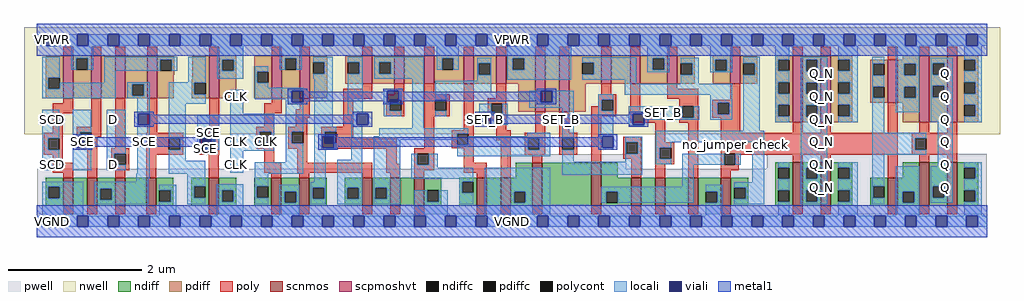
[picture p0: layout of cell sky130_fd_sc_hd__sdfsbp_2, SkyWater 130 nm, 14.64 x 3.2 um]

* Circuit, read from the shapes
.subckt sky130_fd_sc_hd__sdfsbp_2 CLK D SCD SCE SET_B VGND VNB VPB VPWR Q Q_N
XM1 n1 SCD VGND VNB sky130_fd_pr__nfet_01v8 w=0.42 l=0.15
XM2 n2 SCE n1 VNB sky130_fd_pr__nfet_01v8 w=0.42 l=0.15
XM3 n3 D n2 VNB sky130_fd_pr__nfet_01v8 w=0.42 l=0.15
XM4 VGND n4 n3 VNB sky130_fd_pr__nfet_01v8 w=0.42 l=0.15
XM5 VGND SCE n4 VNB sky130_fd_pr__nfet_01v8 w=0.42 l=0.15
XM6 VGND CLK n5 VNB sky130_fd_pr__nfet_01v8 w=0.42 l=0.15
XM7 n6 n5 VGND VNB sky130_fd_pr__nfet_01v8 w=0.42 l=0.15
XM8 n7 n5 n2 VNB sky130_fd_pr__nfet_01v8 w=0.42 l=0.15
XM9 n8 n6 n7 VNB sky130_fd_pr__nfet_01v8 w=0.42 l=0.15
XM10 VGND n9 n8 VNB sky130_fd_pr__nfet_01v8 w=0.42 l=0.15
XM11 n10 n7 n9 VNB sky130_fd_pr__nfet_01v8 w=0.42 l=0.15
XM12 VGND SET_B n10 VNB sky130_fd_pr__nfet_01v8 w=0.42 l=0.15
XM13 n11 n7 VGND VNB sky130_fd_pr__nfet_01v8 w=0.64 l=0.15
XM14 n12 n6 n11 VNB sky130_fd_pr__nfet_01v8 w=0.64 l=0.15
XM15 n13 n5 n12 VNB sky130_fd_pr__nfet_01v8 w=0.42 l=0.15
XM16 n14 n15 n13 VNB sky130_fd_pr__nfet_01v8 w=0.42 l=0.15
XM17 VGND SET_B n14 VNB sky130_fd_pr__nfet_01v8 w=0.42 l=0.15
XM18 n15 n12 VGND VNB sky130_fd_pr__nfet_01v8 w=0.42 l=0.15
XM19 Q_N n12 VGND VNB sky130_fd_pr__nfet_01v8 w=0.65 l=0.15 m=2
XM20 VGND n12 n16 VNB sky130_fd_pr__nfet_01v8 w=0.42 l=0.15
XM21 Q n16 VGND VNB sky130_fd_pr__nfet_01v8 w=0.65 l=0.15 m=2
XM22 VPWR SCD n17 VPB sky130_fd_pr__pfet_01v8_hvt w=0.64 l=0.15
XM23 n18 SCE VPWR VPB sky130_fd_pr__pfet_01v8_hvt w=0.64 l=0.15
XM24 n2 D n18 VPB sky130_fd_pr__pfet_01v8_hvt w=0.64 l=0.15
XM25 n17 n4 n2 VPB sky130_fd_pr__pfet_01v8_hvt w=0.64 l=0.15
XM26 VPWR SCE n4 VPB sky130_fd_pr__pfet_01v8_hvt w=0.64 l=0.15
XM27 VPWR CLK n5 VPB sky130_fd_pr__pfet_01v8_hvt w=0.64 l=0.15
XM28 n6 n5 VPWR VPB sky130_fd_pr__pfet_01v8_hvt w=0.64 l=0.15
XM29 n7 n6 n2 VPB sky130_fd_pr__pfet_01v8_hvt w=0.42 l=0.15
XM30 n19 n5 n7 VPB sky130_fd_pr__pfet_01v8_hvt w=0.42 l=0.15
XM31 VPWR n9 n19 VPB sky130_fd_pr__pfet_01v8_hvt w=0.42 l=0.15
XM32 n9 n7 VPWR VPB sky130_fd_pr__pfet_01v8_hvt w=0.42 l=0.15
XM33 VPWR SET_B n9 VPB sky130_fd_pr__pfet_01v8_hvt w=0.42 l=0.15
XM34 n20 n7 VPWR VPB sky130_fd_pr__pfet_01v8_hvt w=0.84 l=0.15
XM35 n12 n5 n20 VPB sky130_fd_pr__pfet_01v8_hvt w=0.84 l=0.15
XM36 n21 n6 n12 VPB sky130_fd_pr__pfet_01v8_hvt w=0.42 l=0.15
XM37 VPWR n15 n21 VPB sky130_fd_pr__pfet_01v8_hvt w=0.42 l=0.15
XM38 n12 SET_B VPWR VPB sky130_fd_pr__pfet_01v8_hvt w=0.42 l=0.15
XM39 n15 n12 VPWR VPB sky130_fd_pr__pfet_01v8_hvt w=0.42 l=0.15
XM40 Q_N n12 VPWR VPB sky130_fd_pr__pfet_01v8_hvt w=1 l=0.15 m=2
XM41 VPWR n12 n16 VPB sky130_fd_pr__pfet_01v8_hvt w=0.64 l=0.15
XM42 Q n16 VPWR VPB sky130_fd_pr__pfet_01v8_hvt w=1 l=0.15 m=2
.ends

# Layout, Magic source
magic
tech sky130A
magscale 1 2
<< nwell >>
rect -38 261 2890 582
<< pwell >>
rect 1411 157 1769 201
rect 2190 157 2850 203
rect 1 21 2850 157
rect 29 -17 63 21
<< scnmos >>
rect 79 47 109 131
rect 151 47 181 131
rect 235 47 265 131
rect 328 47 358 131
rect 516 47 546 131
rect 704 47 734 131
rect 788 47 818 131
rect 976 47 1006 131
rect 1060 47 1090 131
rect 1132 47 1162 131
rect 1320 47 1350 131
rect 1392 47 1422 131
rect 1487 47 1517 175
rect 1663 47 1693 175
rect 1783 47 1813 131
rect 1855 47 1885 131
rect 1955 47 1985 131
rect 2052 47 2082 131
rect 2268 47 2298 177
rect 2352 47 2382 177
rect 2553 47 2583 131
rect 2648 47 2678 177
rect 2732 47 2762 177
<< scpmoshvt >>
rect 79 369 109 497
rect 163 369 193 497
rect 235 369 265 497
rect 331 369 361 497
rect 517 369 547 497
rect 705 369 735 497
rect 789 369 819 497
rect 977 413 1007 497
rect 1072 413 1102 497
rect 1162 413 1192 497
rect 1281 413 1311 497
rect 1379 413 1409 497
rect 1495 329 1525 497
rect 1567 329 1597 497
rect 1693 413 1723 497
rect 1781 413 1811 497
rect 1892 413 1922 497
rect 2080 413 2110 497
rect 2268 297 2298 497
rect 2352 297 2382 497
rect 2553 356 2583 484
rect 2648 297 2678 497
rect 2732 297 2762 497
<< ndiff >>
rect 1437 131 1487 175
rect 27 103 79 131
rect 27 69 35 103
rect 69 69 79 103
rect 27 47 79 69
rect 109 47 151 131
rect 181 98 235 131
rect 181 64 191 98
rect 225 64 235 98
rect 181 47 235 64
rect 265 47 328 131
rect 358 93 410 131
rect 358 59 368 93
rect 402 59 410 93
rect 358 47 410 59
rect 464 105 516 131
rect 464 71 472 105
rect 506 71 516 105
rect 464 47 516 71
rect 546 93 598 131
rect 546 59 556 93
rect 590 59 598 93
rect 546 47 598 59
rect 652 105 704 131
rect 652 71 660 105
rect 694 71 704 105
rect 652 47 704 71
rect 734 89 788 131
rect 734 55 744 89
rect 778 55 788 89
rect 734 47 788 55
rect 818 101 870 131
rect 818 67 828 101
rect 862 67 870 101
rect 818 47 870 67
rect 924 101 976 131
rect 924 67 932 101
rect 966 67 976 101
rect 924 47 976 67
rect 1006 101 1060 131
rect 1006 67 1016 101
rect 1050 67 1060 101
rect 1006 47 1060 67
rect 1090 47 1132 131
rect 1162 93 1214 131
rect 1162 59 1172 93
rect 1206 59 1214 93
rect 1162 47 1214 59
rect 1268 119 1320 131
rect 1268 85 1276 119
rect 1310 85 1320 119
rect 1268 47 1320 85
rect 1350 47 1392 131
rect 1422 89 1487 131
rect 1422 55 1432 89
rect 1466 55 1487 89
rect 1422 47 1487 55
rect 1517 47 1663 175
rect 1693 131 1743 175
rect 2216 161 2268 177
rect 1693 89 1783 131
rect 1693 55 1709 89
rect 1743 55 1783 89
rect 1693 47 1783 55
rect 1813 47 1855 131
rect 1885 47 1955 131
rect 1985 89 2052 131
rect 1985 55 2007 89
rect 2041 55 2052 89
rect 1985 47 2052 55
rect 2082 101 2135 131
rect 2082 67 2093 101
rect 2127 67 2135 101
rect 2082 47 2135 67
rect 2216 127 2224 161
rect 2258 127 2268 161
rect 2216 93 2268 127
rect 2216 59 2224 93
rect 2258 59 2268 93
rect 2216 47 2268 59
rect 2298 161 2352 177
rect 2298 127 2308 161
rect 2342 127 2352 161
rect 2298 93 2352 127
rect 2298 59 2308 93
rect 2342 59 2352 93
rect 2298 47 2352 59
rect 2382 161 2447 177
rect 2382 127 2405 161
rect 2439 127 2447 161
rect 2598 131 2648 177
rect 2382 93 2447 127
rect 2382 59 2405 93
rect 2439 59 2447 93
rect 2382 47 2447 59
rect 2501 105 2553 131
rect 2501 71 2509 105
rect 2543 71 2553 105
rect 2501 47 2553 71
rect 2583 89 2648 131
rect 2583 55 2598 89
rect 2632 55 2648 89
rect 2583 47 2648 55
rect 2678 105 2732 177
rect 2678 71 2688 105
rect 2722 71 2732 105
rect 2678 47 2732 71
rect 2762 161 2824 177
rect 2762 127 2782 161
rect 2816 127 2824 161
rect 2762 93 2824 127
rect 2762 59 2782 93
rect 2816 59 2824 93
rect 2762 47 2824 59
<< pdiff >>
rect 27 431 79 497
rect 27 397 35 431
rect 69 397 79 431
rect 27 369 79 397
rect 109 489 163 497
rect 109 455 119 489
rect 153 455 163 489
rect 109 369 163 455
rect 193 369 235 497
rect 265 411 331 497
rect 265 377 287 411
rect 321 377 331 411
rect 265 369 331 377
rect 361 485 413 497
rect 361 451 371 485
rect 405 451 413 485
rect 361 441 413 451
rect 361 440 412 441
rect 361 369 411 440
rect 467 426 517 497
rect 466 425 517 426
rect 465 415 517 425
rect 465 381 473 415
rect 507 381 517 415
rect 465 369 517 381
rect 547 485 599 497
rect 547 451 557 485
rect 591 451 599 485
rect 547 369 599 451
rect 653 449 705 497
rect 653 415 661 449
rect 695 415 705 449
rect 653 369 705 415
rect 735 489 789 497
rect 735 455 745 489
rect 779 455 789 489
rect 735 369 789 455
rect 819 477 871 497
rect 819 443 829 477
rect 863 443 871 477
rect 819 369 871 443
rect 925 477 977 497
rect 925 443 933 477
rect 967 443 977 477
rect 925 413 977 443
rect 1007 477 1072 497
rect 1007 443 1028 477
rect 1062 443 1072 477
rect 1007 413 1072 443
rect 1102 413 1162 497
rect 1192 489 1281 497
rect 1192 455 1216 489
rect 1250 455 1281 489
rect 1192 413 1281 455
rect 1311 474 1379 497
rect 1311 440 1326 474
rect 1360 440 1379 474
rect 1311 413 1379 440
rect 1409 489 1495 497
rect 1409 455 1428 489
rect 1462 455 1495 489
rect 1409 413 1495 455
rect 1445 329 1495 413
rect 1525 329 1567 497
rect 1597 475 1693 497
rect 1597 441 1637 475
rect 1671 441 1693 475
rect 1597 413 1693 441
rect 1723 413 1781 497
rect 1811 489 1892 497
rect 1811 455 1848 489
rect 1882 455 1892 489
rect 1811 413 1892 455
rect 1922 474 1974 497
rect 1922 440 1932 474
rect 1966 440 1974 474
rect 1922 413 1974 440
rect 2028 485 2080 497
rect 2028 451 2036 485
rect 2070 451 2080 485
rect 2028 413 2080 451
rect 2110 474 2162 497
rect 2110 440 2120 474
rect 2154 440 2162 474
rect 2110 413 2162 440
rect 2216 485 2268 497
rect 2216 451 2224 485
rect 2258 451 2268 485
rect 2216 417 2268 451
rect 1597 329 1647 413
rect 2216 383 2224 417
rect 2258 383 2268 417
rect 2216 349 2268 383
rect 2216 315 2224 349
rect 2258 315 2268 349
rect 2216 297 2268 315
rect 2298 484 2352 497
rect 2298 450 2308 484
rect 2342 450 2352 484
rect 2298 416 2352 450
rect 2298 382 2308 416
rect 2342 382 2352 416
rect 2298 348 2352 382
rect 2298 314 2308 348
rect 2342 314 2352 348
rect 2298 297 2352 314
rect 2382 485 2447 497
rect 2382 451 2405 485
rect 2439 451 2447 485
rect 2598 484 2648 497
rect 2382 417 2447 451
rect 2382 383 2405 417
rect 2439 383 2447 417
rect 2382 349 2447 383
rect 2501 472 2553 484
rect 2501 438 2509 472
rect 2543 438 2553 472
rect 2501 404 2553 438
rect 2501 370 2509 404
rect 2543 370 2553 404
rect 2501 356 2553 370
rect 2583 472 2648 484
rect 2583 438 2603 472
rect 2637 438 2648 472
rect 2583 404 2648 438
rect 2583 370 2603 404
rect 2637 370 2648 404
rect 2583 356 2648 370
rect 2382 315 2405 349
rect 2439 315 2447 349
rect 2382 297 2447 315
rect 2598 297 2648 356
rect 2678 474 2732 497
rect 2678 440 2688 474
rect 2722 440 2732 474
rect 2678 406 2732 440
rect 2678 372 2688 406
rect 2722 372 2732 406
rect 2678 297 2732 372
rect 2762 485 2824 497
rect 2762 451 2782 485
rect 2816 451 2824 485
rect 2762 417 2824 451
rect 2762 383 2782 417
rect 2816 383 2824 417
rect 2762 349 2824 383
rect 2762 315 2782 349
rect 2816 315 2824 349
rect 2762 297 2824 315
<< ndiffc >>
rect 35 69 69 103
rect 191 64 225 98
rect 368 59 402 93
rect 472 71 506 105
rect 556 59 590 93
rect 660 71 694 105
rect 744 55 778 89
rect 828 67 862 101
rect 932 67 966 101
rect 1016 67 1050 101
rect 1172 59 1206 93
rect 1276 85 1310 119
rect 1432 55 1466 89
rect 1709 55 1743 89
rect 2007 55 2041 89
rect 2093 67 2127 101
rect 2224 127 2258 161
rect 2224 59 2258 93
rect 2308 127 2342 161
rect 2308 59 2342 93
rect 2405 127 2439 161
rect 2405 59 2439 93
rect 2509 71 2543 105
rect 2598 55 2632 89
rect 2688 71 2722 105
rect 2782 127 2816 161
rect 2782 59 2816 93
<< pdiffc >>
rect 35 397 69 431
rect 119 455 153 489
rect 287 377 321 411
rect 371 451 405 485
rect 473 381 507 415
rect 557 451 591 485
rect 661 415 695 449
rect 745 455 779 489
rect 829 443 863 477
rect 933 443 967 477
rect 1028 443 1062 477
rect 1216 455 1250 489
rect 1326 440 1360 474
rect 1428 455 1462 489
rect 1637 441 1671 475
rect 1848 455 1882 489
rect 1932 440 1966 474
rect 2036 451 2070 485
rect 2120 440 2154 474
rect 2224 451 2258 485
rect 2224 383 2258 417
rect 2224 315 2258 349
rect 2308 450 2342 484
rect 2308 382 2342 416
rect 2308 314 2342 348
rect 2405 451 2439 485
rect 2405 383 2439 417
rect 2509 438 2543 472
rect 2509 370 2543 404
rect 2603 438 2637 472
rect 2603 370 2637 404
rect 2405 315 2439 349
rect 2688 440 2722 474
rect 2688 372 2722 406
rect 2782 451 2816 485
rect 2782 383 2816 417
rect 2782 315 2816 349
<< poly >>
rect 79 497 109 523
rect 163 497 193 523
rect 235 497 265 523
rect 331 497 361 523
rect 517 497 547 523
rect 705 497 735 523
rect 789 497 819 523
rect 977 497 1007 523
rect 1072 497 1102 523
rect 1162 497 1192 523
rect 1281 497 1311 523
rect 1379 497 1409 523
rect 1495 497 1525 523
rect 1567 497 1597 523
rect 1693 497 1723 523
rect 1781 497 1811 523
rect 1892 497 1922 523
rect 2080 497 2110 523
rect 2268 497 2298 523
rect 2352 497 2382 523
rect 977 398 1007 413
rect 79 354 109 369
rect 48 324 109 354
rect 48 265 78 324
rect 163 283 193 369
rect 21 249 78 265
rect 21 215 34 249
rect 68 215 78 249
rect 120 267 193 283
rect 120 233 130 267
rect 164 253 193 267
rect 164 233 181 253
rect 120 217 181 233
rect 235 219 265 369
rect 331 265 361 369
rect 517 265 547 369
rect 705 354 735 369
rect 683 324 735 354
rect 789 336 819 369
rect 683 284 713 324
rect 777 310 819 336
rect 919 368 1007 398
rect 1072 381 1102 413
rect 1162 381 1192 413
rect 777 284 812 310
rect 919 284 949 368
rect 1049 365 1103 381
rect 1049 331 1059 365
rect 1093 331 1103 365
rect 1049 315 1103 331
rect 1162 365 1239 381
rect 1162 331 1195 365
rect 1229 331 1239 365
rect 1162 315 1239 331
rect 328 249 440 265
rect 21 199 78 215
rect 48 176 78 199
rect 48 146 109 176
rect 79 131 109 146
rect 151 131 181 217
rect 223 203 277 219
rect 223 169 233 203
rect 267 169 277 203
rect 223 153 277 169
rect 328 215 396 249
rect 430 215 440 249
rect 328 199 440 215
rect 487 249 547 265
rect 487 215 497 249
rect 531 215 547 249
rect 659 268 713 284
rect 659 234 669 268
rect 703 234 713 268
rect 659 218 713 234
rect 755 268 812 284
rect 755 234 765 268
rect 799 234 812 268
rect 755 218 812 234
rect 854 268 949 284
rect 854 234 864 268
rect 898 248 949 268
rect 898 234 1080 248
rect 854 218 1080 234
rect 1162 219 1192 315
rect 1281 273 1311 413
rect 1379 369 1409 413
rect 1353 353 1409 369
rect 1353 319 1363 353
rect 1397 319 1409 353
rect 1693 381 1723 413
rect 1685 365 1739 381
rect 1685 345 1695 365
rect 1663 331 1695 345
rect 1729 331 1739 365
rect 1353 303 1409 319
rect 1245 263 1311 273
rect 1245 229 1261 263
rect 1295 229 1311 263
rect 1379 273 1409 303
rect 1379 243 1422 273
rect 1495 265 1525 329
rect 1245 219 1311 229
rect 487 199 547 215
rect 235 131 265 153
rect 328 131 358 199
rect 516 131 546 199
rect 683 176 713 218
rect 782 176 812 218
rect 683 146 734 176
rect 782 146 1006 176
rect 1048 172 1080 218
rect 1132 203 1192 219
rect 1048 146 1090 172
rect 704 131 734 146
rect 788 131 818 146
rect 976 131 1006 146
rect 1060 131 1090 146
rect 1132 169 1142 203
rect 1176 169 1192 203
rect 1132 153 1192 169
rect 1281 176 1311 219
rect 1132 131 1162 153
rect 1281 146 1350 176
rect 1320 131 1350 146
rect 1392 131 1422 243
rect 1464 249 1525 265
rect 1464 215 1474 249
rect 1508 215 1525 249
rect 1464 199 1525 215
rect 1567 265 1597 329
rect 1663 315 1739 331
rect 1781 325 1811 413
rect 1892 397 1922 413
rect 1892 367 1985 397
rect 1927 345 1985 367
rect 2080 365 2110 413
rect 1567 249 1621 265
rect 1567 215 1577 249
rect 1611 215 1621 249
rect 1567 199 1621 215
rect 1487 175 1517 199
rect 1663 175 1693 315
rect 1781 295 1885 325
rect 1927 311 1937 345
rect 1971 311 1985 345
rect 2027 355 2110 365
rect 2027 321 2043 355
rect 2077 321 2110 355
rect 2027 311 2110 321
rect 1927 295 1985 311
rect 1759 237 1813 253
rect 1759 203 1769 237
rect 1803 203 1813 237
rect 1759 187 1813 203
rect 1783 131 1813 187
rect 1855 237 1885 295
rect 1855 221 1913 237
rect 1855 187 1869 221
rect 1903 187 1913 221
rect 1855 171 1913 187
rect 1855 131 1885 171
rect 1955 131 1985 295
rect 2052 265 2110 311
rect 2553 484 2583 523
rect 2648 497 2678 523
rect 2732 497 2762 523
rect 2268 265 2298 297
rect 2352 265 2382 297
rect 2553 265 2583 356
rect 2648 265 2678 297
rect 2732 265 2762 297
rect 2052 203 2583 265
rect 2052 169 2062 203
rect 2096 199 2583 203
rect 2625 249 2762 265
rect 2625 215 2635 249
rect 2669 215 2762 249
rect 2625 199 2762 215
rect 2096 169 2106 199
rect 2268 177 2298 199
rect 2352 177 2382 199
rect 2052 153 2106 169
rect 2052 131 2082 153
rect 2553 131 2583 199
rect 2648 177 2678 199
rect 2732 177 2762 199
rect 79 21 109 47
rect 151 21 181 47
rect 235 21 265 47
rect 328 21 358 47
rect 516 21 546 47
rect 704 21 734 47
rect 788 21 818 47
rect 976 21 1006 47
rect 1060 21 1090 47
rect 1132 21 1162 47
rect 1320 21 1350 47
rect 1392 21 1422 47
rect 1487 21 1517 47
rect 1663 21 1693 47
rect 1783 21 1813 47
rect 1855 21 1885 47
rect 1955 21 1985 47
rect 2052 21 2082 47
rect 2268 21 2298 47
rect 2352 21 2382 47
rect 2553 21 2583 47
rect 2648 21 2678 47
rect 2732 21 2762 47
<< polycont >>
rect 34 215 68 249
rect 130 233 164 267
rect 1059 331 1093 365
rect 1195 331 1229 365
rect 233 169 267 203
rect 396 215 430 249
rect 497 215 531 249
rect 669 234 703 268
rect 765 234 799 268
rect 864 234 898 268
rect 1363 319 1397 353
rect 1695 331 1729 365
rect 1261 229 1295 263
rect 1142 169 1176 203
rect 1474 215 1508 249
rect 1577 215 1611 249
rect 1937 311 1971 345
rect 2043 321 2077 355
rect 1769 203 1803 237
rect 1869 187 1903 221
rect 2062 169 2096 203
rect 2635 215 2669 249
<< locali >>
rect 0 527 29 561
rect 63 527 121 561
rect 155 527 213 561
rect 247 527 305 561
rect 339 527 397 561
rect 431 527 489 561
rect 523 527 581 561
rect 615 527 673 561
rect 707 527 765 561
rect 799 527 857 561
rect 891 527 949 561
rect 983 527 1041 561
rect 1075 527 1133 561
rect 1167 527 1225 561
rect 1259 527 1317 561
rect 1351 527 1409 561
rect 1443 527 1501 561
rect 1535 527 1593 561
rect 1627 527 1685 561
rect 1719 527 1777 561
rect 1811 527 1869 561
rect 1903 527 1961 561
rect 1995 527 2053 561
rect 2087 527 2145 561
rect 2179 527 2237 561
rect 2271 527 2329 561
rect 2363 527 2421 561
rect 2455 527 2513 561
rect 2547 527 2605 561
rect 2639 527 2697 561
rect 2731 527 2789 561
rect 2823 527 2852 561
rect 17 431 69 493
rect 103 489 169 527
rect 103 455 119 489
rect 153 455 169 489
rect 203 485 421 493
rect 17 397 35 431
rect 203 451 371 485
rect 405 451 421 485
rect 203 415 237 451
rect 455 417 507 493
rect 541 485 620 527
rect 541 451 557 485
rect 591 451 620 485
rect 729 489 795 527
rect 541 428 620 451
rect 654 449 695 465
rect 729 455 745 489
rect 779 455 795 489
rect 829 477 888 493
rect 69 397 237 415
rect 17 369 237 397
rect 271 411 339 417
rect 271 377 287 411
rect 321 377 339 411
rect 271 369 339 377
rect 17 249 68 335
rect 17 215 34 249
rect 17 153 68 215
rect 108 267 164 335
rect 108 255 130 267
rect 108 221 121 255
rect 155 221 164 233
rect 108 153 164 221
rect 210 203 267 335
rect 210 169 233 203
rect 210 153 267 169
rect 301 323 339 369
rect 301 289 305 323
rect 301 144 339 289
rect 300 141 339 144
rect 396 415 507 417
rect 396 381 473 415
rect 654 415 661 449
rect 863 443 888 477
rect 829 427 888 443
rect 654 400 695 415
rect 396 352 507 381
rect 396 249 447 352
rect 581 323 620 394
rect 654 391 799 400
rect 654 366 765 391
rect 747 357 765 366
rect 430 215 447 249
rect 481 255 547 318
rect 481 221 489 255
rect 523 249 547 255
rect 481 215 497 221
rect 531 215 547 249
rect 581 268 713 323
rect 581 234 669 268
rect 703 234 713 268
rect 396 181 447 215
rect 581 211 713 234
rect 747 268 799 357
rect 747 234 765 268
rect 396 143 506 181
rect 581 145 620 211
rect 747 177 799 234
rect 299 129 339 141
rect 299 119 334 129
rect 17 103 140 119
rect 17 69 35 103
rect 69 69 140 103
rect 17 17 140 69
rect 174 98 334 119
rect 174 64 191 98
rect 225 64 334 98
rect 174 51 334 64
rect 368 93 418 109
rect 402 59 418 93
rect 368 17 418 59
rect 452 105 506 143
rect 654 143 799 177
rect 833 284 888 427
rect 933 477 978 493
rect 967 443 978 477
rect 933 323 978 443
rect 1012 477 1161 493
rect 1012 443 1028 477
rect 1062 443 1161 477
rect 1200 489 1266 527
rect 1200 455 1216 489
rect 1250 455 1266 489
rect 1321 474 1364 490
rect 1012 427 1161 443
rect 1041 357 1052 391
rect 1086 365 1093 391
rect 1041 331 1059 357
rect 933 318 960 323
rect 943 289 960 318
rect 1041 315 1093 331
rect 833 268 898 284
rect 833 255 864 268
rect 833 221 857 255
rect 891 221 898 234
rect 833 218 898 221
rect 452 71 472 105
rect 452 51 506 71
rect 540 93 620 111
rect 540 59 556 93
rect 590 59 620 93
rect 540 17 620 59
rect 654 105 694 143
rect 833 117 867 218
rect 943 184 977 289
rect 1127 279 1161 427
rect 1321 440 1326 474
rect 1360 440 1364 474
rect 1321 421 1364 440
rect 1412 489 1603 527
rect 1412 455 1428 489
rect 1462 455 1603 489
rect 1412 425 1603 455
rect 1637 475 1798 492
rect 1671 441 1798 475
rect 1832 489 1898 527
rect 1832 455 1848 489
rect 1882 455 1898 489
rect 1832 447 1898 455
rect 1932 474 1986 490
rect 1637 425 1798 441
rect 1195 387 1364 421
rect 1764 413 1798 425
rect 1966 440 1986 474
rect 2020 485 2086 527
rect 2020 451 2036 485
rect 2070 451 2086 485
rect 2020 447 2086 451
rect 2120 474 2169 493
rect 1932 413 1986 440
rect 2154 440 2169 474
rect 1195 365 1229 387
rect 1477 357 1512 391
rect 1546 357 1611 391
rect 1195 315 1229 331
rect 1328 323 1363 353
rect 1362 319 1363 323
rect 1397 319 1413 353
rect 1477 341 1611 357
rect 1362 289 1413 319
rect 1028 263 1295 279
rect 1028 255 1261 263
rect 654 71 660 105
rect 654 51 694 71
rect 728 89 788 109
rect 728 55 744 89
rect 778 55 788 89
rect 728 17 788 55
rect 822 101 867 117
rect 822 67 828 101
rect 862 67 867 101
rect 822 51 867 67
rect 901 101 977 184
rect 901 67 932 101
rect 966 67 977 101
rect 901 51 977 67
rect 1011 245 1261 255
rect 1011 101 1090 245
rect 1471 255 1541 265
rect 1295 249 1541 255
rect 1295 229 1474 249
rect 1261 215 1474 229
rect 1508 215 1541 249
rect 1124 169 1142 203
rect 1176 169 1203 203
rect 1261 195 1541 215
rect 1577 249 1611 341
rect 1684 365 1730 381
rect 1764 379 2086 413
rect 1684 331 1695 365
rect 1729 331 1730 365
rect 2021 355 2086 379
rect 1684 255 1730 331
rect 1776 323 1937 345
rect 1776 289 1788 323
rect 1822 311 1937 323
rect 1971 311 1987 345
rect 1822 305 1987 311
rect 2021 321 2043 355
rect 2077 321 2086 355
rect 2021 305 2086 321
rect 1822 289 1823 305
rect 1776 287 1823 289
rect 2120 271 2169 440
rect 2216 485 2258 527
rect 2216 451 2224 485
rect 2216 417 2258 451
rect 2216 383 2224 417
rect 2216 349 2258 383
rect 2216 315 2224 349
rect 2216 297 2258 315
rect 2292 484 2371 493
rect 2292 450 2308 484
rect 2342 450 2371 484
rect 2292 416 2371 450
rect 2292 382 2308 416
rect 2342 382 2371 416
rect 2292 348 2371 382
rect 2292 314 2308 348
rect 2342 314 2371 348
rect 1684 221 1696 255
rect 1684 215 1730 221
rect 1766 237 1817 253
rect 1124 161 1203 169
rect 1577 179 1611 215
rect 1766 203 1769 237
rect 1803 203 1817 237
rect 1766 179 1817 203
rect 1124 127 1310 161
rect 1011 67 1016 101
rect 1050 67 1090 101
rect 1267 119 1310 127
rect 1011 51 1090 67
rect 1133 59 1172 93
rect 1206 59 1233 93
rect 1133 17 1233 59
rect 1267 85 1276 119
rect 1267 51 1310 85
rect 1344 89 1541 161
rect 1577 139 1817 179
rect 1857 237 2182 271
rect 1857 221 1903 237
rect 1857 187 1869 221
rect 1857 171 1903 187
rect 1937 169 2062 203
rect 2096 169 2112 203
rect 1937 103 1971 169
rect 2146 117 2182 237
rect 1344 55 1432 89
rect 1466 55 1541 89
rect 1693 89 1971 103
rect 1693 55 1709 89
rect 1743 55 1971 89
rect 2007 89 2057 109
rect 2041 55 2057 89
rect 1344 17 1541 55
rect 2007 17 2057 55
rect 2093 101 2182 117
rect 2127 67 2182 101
rect 2093 51 2182 67
rect 2224 161 2258 177
rect 2224 93 2258 127
rect 2224 17 2258 59
rect 2292 161 2371 314
rect 2405 485 2463 527
rect 2439 451 2463 485
rect 2405 417 2463 451
rect 2439 383 2463 417
rect 2405 349 2463 383
rect 2439 315 2463 349
rect 2405 297 2463 315
rect 2506 472 2543 493
rect 2506 438 2509 472
rect 2506 404 2543 438
rect 2506 370 2509 404
rect 2506 265 2543 370
rect 2577 472 2648 527
rect 2577 438 2603 472
rect 2637 438 2648 472
rect 2577 404 2648 438
rect 2577 370 2603 404
rect 2637 370 2648 404
rect 2577 327 2648 370
rect 2682 474 2748 490
rect 2682 440 2688 474
rect 2722 440 2748 474
rect 2682 406 2748 440
rect 2682 372 2688 406
rect 2722 372 2748 406
rect 2682 299 2748 372
rect 2506 249 2669 265
rect 2506 215 2635 249
rect 2506 199 2669 215
rect 2292 127 2308 161
rect 2342 127 2371 161
rect 2292 93 2371 127
rect 2292 59 2308 93
rect 2342 59 2371 93
rect 2292 51 2371 59
rect 2405 161 2463 177
rect 2439 127 2463 161
rect 2405 93 2463 127
rect 2439 59 2463 93
rect 2405 17 2463 59
rect 2506 105 2543 199
rect 2703 165 2748 299
rect 2782 485 2835 527
rect 2816 451 2835 485
rect 2782 417 2835 451
rect 2816 383 2835 417
rect 2782 349 2835 383
rect 2816 315 2835 349
rect 2782 297 2835 315
rect 2506 71 2509 105
rect 2506 51 2543 71
rect 2577 89 2648 165
rect 2577 55 2598 89
rect 2632 55 2648 89
rect 2682 105 2748 165
rect 2682 71 2688 105
rect 2722 71 2748 105
rect 2682 55 2748 71
rect 2782 161 2835 177
rect 2816 127 2835 161
rect 2782 93 2835 127
rect 2816 59 2835 93
rect 2577 17 2648 55
rect 2782 17 2835 59
rect 0 -17 29 17
rect 63 -17 121 17
rect 155 -17 213 17
rect 247 -17 305 17
rect 339 -17 397 17
rect 431 -17 489 17
rect 523 -17 581 17
rect 615 -17 673 17
rect 707 -17 765 17
rect 799 -17 857 17
rect 891 -17 949 17
rect 983 -17 1041 17
rect 1075 -17 1133 17
rect 1167 -17 1225 17
rect 1259 -17 1317 17
rect 1351 -17 1409 17
rect 1443 -17 1501 17
rect 1535 -17 1593 17
rect 1627 -17 1685 17
rect 1719 -17 1777 17
rect 1811 -17 1869 17
rect 1903 -17 1961 17
rect 1995 -17 2053 17
rect 2087 -17 2145 17
rect 2179 -17 2237 17
rect 2271 -17 2329 17
rect 2363 -17 2421 17
rect 2455 -17 2513 17
rect 2547 -17 2605 17
rect 2639 -17 2697 17
rect 2731 -17 2789 17
rect 2823 -17 2852 17
<< viali >>
rect 29 527 63 561
rect 121 527 155 561
rect 213 527 247 561
rect 305 527 339 561
rect 397 527 431 561
rect 489 527 523 561
rect 581 527 615 561
rect 673 527 707 561
rect 765 527 799 561
rect 857 527 891 561
rect 949 527 983 561
rect 1041 527 1075 561
rect 1133 527 1167 561
rect 1225 527 1259 561
rect 1317 527 1351 561
rect 1409 527 1443 561
rect 1501 527 1535 561
rect 1593 527 1627 561
rect 1685 527 1719 561
rect 1777 527 1811 561
rect 1869 527 1903 561
rect 1961 527 1995 561
rect 2053 527 2087 561
rect 2145 527 2179 561
rect 2237 527 2271 561
rect 2329 527 2363 561
rect 2421 527 2455 561
rect 2513 527 2547 561
rect 2605 527 2639 561
rect 2697 527 2731 561
rect 2789 527 2823 561
rect 121 233 130 255
rect 130 233 155 255
rect 121 221 155 233
rect 305 289 339 323
rect 765 357 799 391
rect 489 249 523 255
rect 489 221 497 249
rect 497 221 523 249
rect 1052 365 1086 391
rect 1052 357 1059 365
rect 1059 357 1086 365
rect 960 289 994 323
rect 857 234 864 255
rect 864 234 891 255
rect 857 221 891 234
rect 1512 357 1546 391
rect 1328 289 1362 323
rect 1788 289 1822 323
rect 1696 221 1730 255
rect 29 -17 63 17
rect 121 -17 155 17
rect 213 -17 247 17
rect 305 -17 339 17
rect 397 -17 431 17
rect 489 -17 523 17
rect 581 -17 615 17
rect 673 -17 707 17
rect 765 -17 799 17
rect 857 -17 891 17
rect 949 -17 983 17
rect 1041 -17 1075 17
rect 1133 -17 1167 17
rect 1225 -17 1259 17
rect 1317 -17 1351 17
rect 1409 -17 1443 17
rect 1501 -17 1535 17
rect 1593 -17 1627 17
rect 1685 -17 1719 17
rect 1777 -17 1811 17
rect 1869 -17 1903 17
rect 1961 -17 1995 17
rect 2053 -17 2087 17
rect 2145 -17 2179 17
rect 2237 -17 2271 17
rect 2329 -17 2363 17
rect 2421 -17 2455 17
rect 2513 -17 2547 17
rect 2605 -17 2639 17
rect 2697 -17 2731 17
rect 2789 -17 2823 17
<< metal1 >>
rect 0 561 2852 592
rect 0 527 29 561
rect 63 527 121 561
rect 155 527 213 561
rect 247 527 305 561
rect 339 527 397 561
rect 431 527 489 561
rect 523 527 581 561
rect 615 527 673 561
rect 707 527 765 561
rect 799 527 857 561
rect 891 527 949 561
rect 983 527 1041 561
rect 1075 527 1133 561
rect 1167 527 1225 561
rect 1259 527 1317 561
rect 1351 527 1409 561
rect 1443 527 1501 561
rect 1535 527 1593 561
rect 1627 527 1685 561
rect 1719 527 1777 561
rect 1811 527 1869 561
rect 1903 527 1961 561
rect 1995 527 2053 561
rect 2087 527 2145 561
rect 2179 527 2237 561
rect 2271 527 2329 561
rect 2363 527 2421 561
rect 2455 527 2513 561
rect 2547 527 2605 561
rect 2639 527 2697 561
rect 2731 527 2789 561
rect 2823 527 2852 561
rect 0 496 2852 527
rect 753 391 811 397
rect 753 357 765 391
rect 799 388 811 391
rect 1040 391 1098 397
rect 1040 388 1052 391
rect 799 360 1052 388
rect 799 357 811 360
rect 753 351 811 357
rect 1040 357 1052 360
rect 1086 388 1098 391
rect 1500 391 1558 397
rect 1500 388 1512 391
rect 1086 360 1512 388
rect 1086 357 1098 360
rect 1040 351 1098 357
rect 1500 357 1512 360
rect 1546 357 1558 391
rect 1500 351 1558 357
rect 293 323 351 329
rect 293 289 305 323
rect 339 320 351 323
rect 948 323 1006 329
rect 948 320 960 323
rect 339 292 960 320
rect 339 289 351 292
rect 293 283 351 289
rect 948 289 960 292
rect 994 289 1006 323
rect 948 283 1006 289
rect 1316 323 1374 329
rect 1316 289 1328 323
rect 1362 320 1374 323
rect 1776 323 1834 329
rect 1776 320 1788 323
rect 1362 292 1788 320
rect 1362 289 1374 292
rect 1316 283 1374 289
rect 1776 289 1788 292
rect 1822 289 1834 323
rect 1776 283 1834 289
rect 109 255 167 261
rect 109 221 121 255
rect 155 252 167 255
rect 477 255 535 261
rect 477 252 489 255
rect 155 224 489 252
rect 155 221 167 224
rect 109 215 167 221
rect 477 221 489 224
rect 523 221 535 255
rect 477 215 535 221
rect 845 255 903 261
rect 845 221 857 255
rect 891 252 903 255
rect 1684 255 1742 261
rect 1684 252 1696 255
rect 891 224 1696 252
rect 891 221 903 224
rect 845 215 903 221
rect 1684 221 1696 224
rect 1730 221 1742 255
rect 1684 215 1742 221
rect 0 17 2852 48
rect 0 -17 29 17
rect 63 -17 121 17
rect 155 -17 213 17
rect 247 -17 305 17
rect 339 -17 397 17
rect 431 -17 489 17
rect 523 -17 581 17
rect 615 -17 673 17
rect 707 -17 765 17
rect 799 -17 857 17
rect 891 -17 949 17
rect 983 -17 1041 17
rect 1075 -17 1133 17
rect 1167 -17 1225 17
rect 1259 -17 1317 17
rect 1351 -17 1409 17
rect 1443 -17 1501 17
rect 1535 -17 1593 17
rect 1627 -17 1685 17
rect 1719 -17 1777 17
rect 1811 -17 1869 17
rect 1903 -17 1961 17
rect 1995 -17 2053 17
rect 2087 -17 2145 17
rect 2179 -17 2237 17
rect 2271 -17 2329 17
rect 2363 -17 2421 17
rect 2455 -17 2513 17
rect 2547 -17 2605 17
rect 2639 -17 2697 17
rect 2731 -17 2789 17
rect 2823 -17 2852 17
rect 0 -48 2852 -17
<< labels >>
flabel locali s 29 153 63 187 0 FreeSans 200 0 0 0 SCD
port 3 nsew signal input
flabel locali s 581 357 615 391 0 FreeSans 200 0 0 0 CLK
port 1 nsew clock input
flabel locali s 2337 357 2371 391 0 FreeSans 200 0 0 0 Q_N
port 11 nsew signal output
flabel locali s 213 289 247 323 0 FreeSans 200 0 0 0 D
port 2 nsew signal input
flabel locali s 2337 425 2371 459 0 FreeSans 200 0 0 0 Q_N
port 11 nsew signal output
flabel locali s 29 289 63 323 0 FreeSans 200 0 0 0 SCD
port 3 nsew signal input
flabel locali s 2337 289 2371 323 0 FreeSans 200 0 0 0 Q_N
port 11 nsew signal output
flabel locali s 2337 221 2371 255 0 FreeSans 200 0 0 0 Q_N
port 11 nsew signal output
flabel locali s 2337 153 2371 187 0 FreeSans 200 0 0 0 Q_N
port 11 nsew signal output
flabel locali s 2337 85 2371 119 0 FreeSans 200 0 0 0 Q_N
port 11 nsew signal output
flabel locali s 1328 289 1362 323 0 FreeSans 200 0 0 0 SET_B
port 5 nsew signal input
flabel locali s 121 221 155 255 0 FreeSans 200 0 0 0 SCE
port 4 nsew signal input
flabel locali s 213 153 247 187 0 FreeSans 200 0 0 0 D
port 2 nsew signal input
flabel locali s 581 221 615 255 0 FreeSans 200 0 0 0 CLK
port 1 nsew clock input
flabel locali s 581 153 615 187 0 FreeSans 200 0 0 0 CLK
port 1 nsew clock input
flabel locali s 673 221 707 255 0 FreeSans 200 0 0 0 CLK
port 1 nsew clock input
flabel locali s 2709 357 2743 391 0 FreeSans 200 0 0 0 Q
port 10 nsew signal output
flabel locali s 2709 425 2743 459 0 FreeSans 200 0 0 0 Q
port 10 nsew signal output
flabel locali s 2709 221 2743 255 0 FreeSans 200 0 0 0 Q
port 10 nsew signal output
flabel locali s 2709 153 2743 187 0 FreeSans 200 0 0 0 Q
port 10 nsew signal output
flabel locali s 2709 85 2743 119 0 FreeSans 200 0 0 0 Q
port 10 nsew signal output
flabel locali s 2709 289 2743 323 0 FreeSans 200 0 0 0 Q
port 10 nsew signal output
flabel metal1 s 29 527 63 561 0 FreeSans 200 0 0 0 VPWR
port 9 nsew power bidirectional abutment
flabel metal1 s 29 -17 63 17 0 FreeSans 200 0 0 0 VGND
port 6 nsew ground bidirectional abutment
flabel nwell s 29 527 63 561 0 FreeSans 200 0 0 0 VPB
port 8 nsew power bidirectional
flabel pwell s 29 -17 63 17 0 FreeSans 200 0 0 0 VNB
port 7 nsew ground bidirectional
rlabel comment s 0 0 0 0 4 sdfsbp_2
flabel comment s 2095 229 2095 229 0 FreeSans 200 0 0 0 no_jumper_check
flabel comment s 1170 290 1170 290 0 FreeSans 200 0 0 0 no_jumper_check
rlabel locali s 481 215 547 318 1 SCE
port 4 nsew signal input
rlabel metal1 s 477 252 535 261 1 SCE
port 4 nsew signal input
rlabel metal1 s 477 215 535 224 1 SCE
port 4 nsew signal input
rlabel metal1 s 109 252 167 261 1 SCE
port 4 nsew signal input
rlabel metal1 s 109 224 535 252 1 SCE
port 4 nsew signal input
rlabel metal1 s 109 215 167 224 1 SCE
port 4 nsew signal input
rlabel locali s 1776 305 1987 345 1 SET_B
port 5 nsew signal input
rlabel locali s 1776 287 1823 305 1 SET_B
port 5 nsew signal input
rlabel metal1 s 1776 320 1834 329 1 SET_B
port 5 nsew signal input
rlabel metal1 s 1776 283 1834 292 1 SET_B
port 5 nsew signal input
rlabel metal1 s 1316 320 1374 329 1 SET_B
port 5 nsew signal input
rlabel metal1 s 1316 292 1834 320 1 SET_B
port 5 nsew signal input
rlabel metal1 s 1316 283 1374 292 1 SET_B
port 5 nsew signal input
rlabel metal1 s 0 -48 2852 48 1 VGND
port 6 nsew ground bidirectional abutment
rlabel metal1 s 0 496 2852 592 1 VPWR
port 9 nsew power bidirectional abutment
<< properties >>
string FIXED_BBOX 0 0 2852 544
string GDS_END 77464
string GDS_FILE $PDKPATH/libs.ref/sky130_fd_sc_hd/gds/sky130_fd_sc_hd.gds
string GDS_START 54832
string LEFclass CORE
string LEFsite unithd
string LEFsymmetry X Y R90
string path 0.000 2.720 14.260 2.720 
<< end >>
